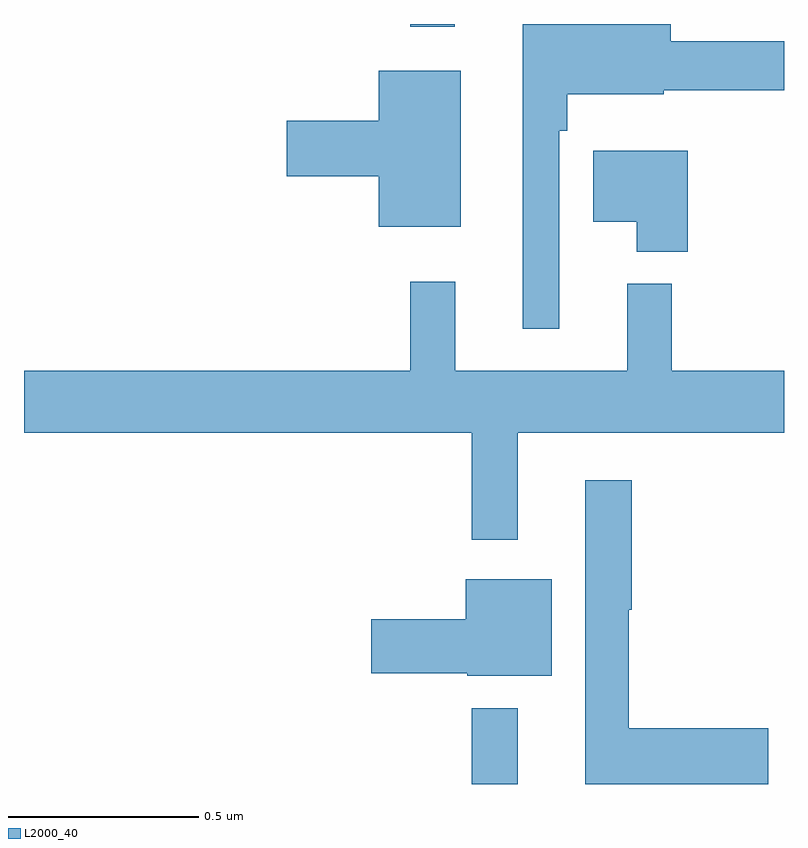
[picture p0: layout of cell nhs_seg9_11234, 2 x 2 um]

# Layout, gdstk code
import gdstk
lib = gdstk.Library(unit=1e-6, precision=1e-09)
def R(c, l, rs):  # rectangles x0, y0, x1, y1
    for r in rs: c.add(gdstk.rectangle(r[:2], r[2:], *l))
def P(c, l, *ps):  # polygons
    for p in ps: c.add(gdstk.Polygon(p, *l))
L2000_40 = (2000, 40)

nhs_seg9_11234 = lib.new_cell('nhs_seg9_11234')
R(nhs_seg9_11234, L2000_40, [(254.178,1191.5,254.299,1191.7), (254.017,1193.493,254.134,1193.5)])
P(nhs_seg9_11234, L2000_40, [(254.409,1193.219),(254.429,1193.219),(254.429,1193.315),(254.683,1193.315),(254.683,1193.326),(255,1193.326),(255,1193.455),(254.702,1193.455),(254.702,1193.5),(254.312,1193.5),(254.312,1192.698),(254.409,1192.698)],
  [(254.149,1193.377),(253.934,1193.377),(253.934,1193.246),(253.692,1193.246),(253.692,1193.099),(253.934,1193.099),(253.934,1192.967),(254.149,1192.967)],
  [(254.747,1193.167),(254.498,1193.167),(254.498,1192.979),(254.612,1192.979),(254.612,1192.901),(254.747,1192.901)],
  [(254.299,1192.424),(255,1192.424),(255,1192.588),(254.705,1192.588),(254.705,1192.816),(254.588,1192.816),(254.588,1192.588),(254.135,1192.588),(254.135,1192.822),(254.017,1192.822),(254.017,1192.588),(253,1192.588),(253,1192.424),(254.178,1192.424),(254.178,1192.143),(254.299,1192.143)],
  [(254.959,1191.647),(254.591,1191.647),(254.591,1191.959),(254.599,1191.959),(254.599,1192.3),(254.477,1192.3),(254.477,1191.5),(254.959,1191.5)],
  [(254.389,1192.039),(254.162,1192.039),(254.162,1191.933),(253.914,1191.933),(253.914,1191.791),(254.166,1191.791),(254.166,1191.785),(254.389,1191.785)])

lib.write_gds('nhs_seg9_11234.gds')
